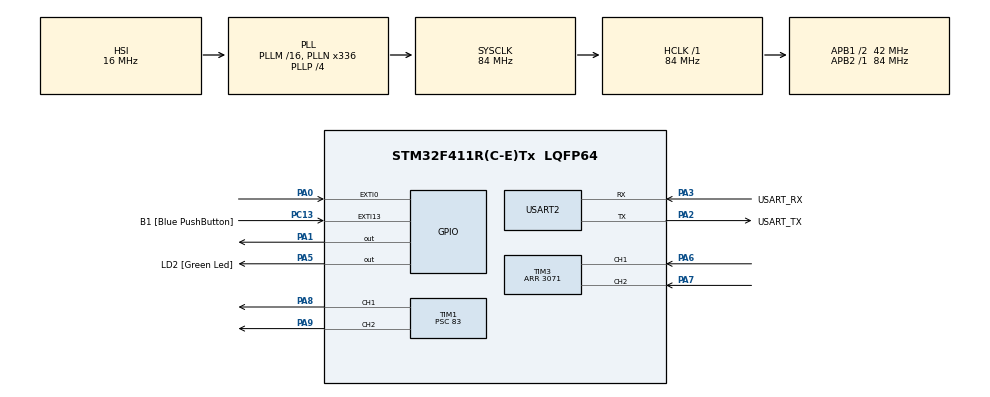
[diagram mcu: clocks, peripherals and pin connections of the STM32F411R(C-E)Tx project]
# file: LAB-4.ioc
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Mcu.Family=STM32F4
Mcu.Name=STM32F411R(C-E)Tx
Mcu.Package=LQFP64
NVIC.PriorityGroup=NVIC_PRIORITYGROUP_0
PA0-WKUP.Signal=GPXTI0
PA1.Signal=GPIO_Output
PA13.GPIO_Label=TMS
PA13.Mode=Serial_Wire
PA13.Signal=SYS_JTMS-SWDIO
PA14.GPIO_Label=TCK
PA14.Mode=Serial_Wire
PA14.Signal=SYS_JTCK-SWCLK
PA2.GPIO_Label=USART_TX
PA2.Mode=Asynchronous
PA2.Signal=USART2_TX
PA3.GPIO_Label=USART_RX
PA3.Mode=Asynchronous
PA3.Signal=USART2_RX
PA5.GPIO_Label=LD2 [Green Led]
PA5.Signal=GPIO_Output
PA6.Signal=S_TIM3_CH1
PA7.Signal=S_TIM3_CH2
PA8.Signal=S_TIM1_CH1
PA9.Signal=S_TIM1_CH2
PB3.GPIO_Label=SWO
PB3.Signal=SYS_JTDO-SWO
PC13-ANTI_TAMP.GPIO_Label=B1 [Blue PushButton]
PC13-ANTI_TAMP.GPIO_ModeDefaultEXTI=GPIO_MODE_IT_FALLING
PC13-ANTI_TAMP.Signal=GPXTI13
PC14-OSC32_IN.Mode=LSE-External-Oscillator
PC14-OSC32_IN.Signal=RCC_OSC32_IN
PC15-OSC32_OUT.Mode=LSE-External-Oscillator
PC15-OSC32_OUT.Signal=RCC_OSC32_OUT
PH0\ -\ OSC_IN.Mode=HSE-External-Clock-Source
PH0\ -\ OSC_IN.Signal=RCC_OSC_IN
PH1\ -\ OSC_OUT.Mode=HSE-External-Clock-Source
PH1\ -\ OSC_OUT.Signal=RCC_OSC_OUT
ProjectManager.HeapSize=0x200
ProjectManager.StackSize=0x400
ProjectManager.TargetToolchain=STM32CubeIDE
RCC.48MHZClocksFreq_Value=84000000
RCC.AHBFreq_Value=84000000
RCC.APB1CLKDivider=RCC_HCLK_DIV2
RCC.APB1Freq_Value=42000000
RCC.APB1TimFreq_Value=84000000
RCC.APB2Freq_Value=84000000
RCC.APB2TimFreq_Value=84000000
RCC.CortexFreq_Value=84000000
RCC.FLatency-AdvancedSettings=FLASH_LATENCY_2
RCC.HCLKFreq_Value=84000000
RCC.HSE_VALUE=8000000
RCC.HSI_VALUE=16000000
RCC.PLLN=336
RCC.PLLP=RCC_PLLP_DIV4
RCC.SYSCLKFreq_VALUE=84000000
RCC.SYSCLKSource=RCC_SYSCLKSOURCE_PLLCLK
RCC.VCOOutputFreq_Value=336000000
SH.S_TIM1_CH1.0=TIM1_CH1,PWM Generation1 CH1
SH.S_TIM1_CH2.0=TIM1_CH2,PWM Generation2 CH2
SH.S_TIM3_CH1.0=TIM3_CH1,Encoder_Interface
SH.S_TIM3_CH2.0=TIM3_CH2,Encoder_Interface
TIM1.Channel-PWM\ Generation1\ CH1=TIM_CHANNEL_1
TIM1.Channel-PWM\ Generation2\ CH2=TIM_CHANNEL_2
TIM1.Period=99
TIM1.Prescaler=83
TIM3.EncoderMode=TIM_ENCODERMODE_TI12
TIM3.Period=3071
USART2.VirtualMode=VM_ASYNC
VP_TIM1_VS_ClockSourceINT.Mode=Internal
VP_TIM2_VS_ClockSourceINT.Mode=Internal
board=NUCLEO-F411RE

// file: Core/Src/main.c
/* USER CODE BEGIN Header */
/**
  ******************************************************************************
  * @file           : main.c
  * @brief          : Main program body
  ******************************************************************************
  * @attention
  *
  * Copyright (c) 2023 STMicroelectronics.
  * All rights reserved.
  *
  * This software is licensed under terms that can be found in the LICENSE file
  * in the root directory of this software component.
  * If no LICENSE file comes with this software, it is provided AS-IS.
  *
  ******************************************************************************
  */
/* USER CODE END Header */
#include "main.h"

/* USER CODE BEGIN Includes */
#include "arm_math.h"
/* USER CODE END Includes */

TIM_HandleTypeDef htim1;
TIM_HandleTypeDef htim2;
TIM_HandleTypeDef htim3;

UART_HandleTypeDef huart2;

/* USER CODE BEGIN PV */
arm_pid_instance_f32 PID = {0};
float position = 0;
uint32_t setposition = 0;
float duty = 0 ;
float duty2 = 0 ;
uint32_t data[2] = {0};
int rawdata = 0;
float diff = 0 ;
/* USER CODE END PV */

void SystemClock_Config(void);
static void MX_GPIO_Init(void);
static void MX_USART2_UART_Init(void);
static void MX_TIM3_Init(void);
static void MX_TIM1_Init(void);
static void MX_TIM2_Init(void);
/* USER CODE BEGIN PFP */
void QEIEncoderPositionVelocity_Update() ;
/* USER CODE END PFP */

int main(void)
{

  /* MCU Configuration--------------------------------------------------------*/

  /* Reset of all peripherals, Initializes the Flash interface and the Systick. */
  HAL_Init();

  /* Configure the system clock */
  SystemClock_Config();

  /* Initialize all configured peripherals */
  MX_GPIO_Init();
  MX_USART2_UART_Init();
  MX_TIM3_Init();
  MX_TIM1_Init();
  MX_TIM2_Init();
  /* USER CODE BEGIN 2 */
  	PID.Kp = 0.2;
    PID.Ki = 0.1 ;
    PID.Kd = 0.1;
    arm_pid_init_f32(&PID, 1);

    HAL_TIM_Encoder_Start(&htim3, TIM_CHANNEL_1|TIM_CHANNEL_2);
    HAL_TIM_Base_Start(&htim1);
    HAL_TIM_PWM_Start(&htim1, TIM_CHANNEL_1);
    HAL_TIM_PWM_Start(&htim1, TIM_CHANNEL_2);
  /* USER CODE END 2 */

  /* Infinite loop */
  while (1)
  {

    /* USER CODE BEGIN 3 */
	  static uint32_t timestamp = 0;
	  if(HAL_GetTick()>timestamp){
	  		  timestamp = HAL_GetTick()+1 ;        // run 1000 Hz
	  		  QEIEncoderPositionVelocity_Update(); // read QEI
	  		  position = (rawdata/3072.0)*360.0 ;     // find degree
	  		  diff = setposition - position ;    // error
	  		  if(diff > 0)
	  		  {
	  			if (diff <= 0.6)
	  			{
	  				duty = 0 ;// break
	  				duty2 = 0;
	  			}
	  			else {
	  				duty = arm_pid_f32(&PID, diff);  // set duty
	  				if(duty > 100 )
	  				{
	  					duty = 100 ;		// limit duty
	  				}
	  				else if(duty < 0){
	  					duty = 0 ;			// limit duty
	  				}
	  			}
	  			__HAL_TIM_SET_COMPARE(&htim1,TIM_CHANNEL_1,duty);
	  			__HAL_TIM_SET_COMPARE(&htim1,TIM_CHANNEL_2,duty2);
	  		  }
	  		  else if(diff < 0)
	  		  {
	  			if (diff*-1 <= 0.6)
	  			{
	  				duty = 0 ;   // break
	  				duty2 = 0 ;
	  			}
	  			else{
	  				duty2 = arm_pid_f32(&PID, diff*-1); // set duty and change error to positive
	  				if(duty2 > 100 )
	  				{
	  					duty2 = 100 ;			// limit duty
	  				}
	  				else if(duty2 < 0){
	  					duty2 = 0 ;            // limit duty
	  				}
	  			}
	  			__HAL_TIM_SET_COMPARE(&htim1,TIM_CHANNEL_1,duty);
	  			__HAL_TIM_SET_COMPARE(&htim1,TIM_CHANNEL_2,duty2);
	  		  }

	  	  }
  }
  /* USER CODE END 3 */
}

void SystemClock_Config(void)
{
  RCC_OscInitTypeDef RCC_OscInitStruct = {0};
  RCC_ClkInitTypeDef RCC_ClkInitStruct = {0};

  /** Configure the main internal regulator output voltage
  */
  __HAL_RCC_PWR_CLK_ENABLE();
  __HAL_PWR_VOLTAGESCALING_CONFIG(PWR_REGULATOR_VOLTAGE_SCALE1);

  /** Initializes the RCC Oscillators according to the specified parameters
  * in the RCC_OscInitTypeDef structure.
  */
  RCC_OscInitStruct.OscillatorType = RCC_OSCILLATORTYPE_HSI;
  RCC_OscInitStruct.HSIState = RCC_HSI_ON;
  RCC_OscInitStruct.HSICalibrationValue = RCC_HSICALIBRATION_DEFAULT;
  RCC_OscInitStruct.PLL.PLLState = RCC_PLL_ON;
  RCC_OscInitStruct.PLL.PLLSource = RCC_PLLSOURCE_HSI;
  RCC_OscInitStruct.PLL.PLLM = 16;
  RCC_OscInitStruct.PLL.PLLN = 336;
  RCC_OscInitStruct.PLL.PLLP = RCC_PLLP_DIV4;
  RCC_OscInitStruct.PLL.PLLQ = 4;
  if (HAL_RCC_OscConfig(&RCC_OscInitStruct) != HAL_OK)
  {
    Error_Handler();
  }

  /** Initializes the CPU, AHB and APB buses clocks
  */
  RCC_ClkInitStruct.ClockType = RCC_CLOCKTYPE_HCLK|RCC_CLOCKTYPE_SYSCLK
                              |RCC_CLOCKTYPE_PCLK1|RCC_CLOCKTYPE_PCLK2;
  RCC_ClkInitStruct.SYSCLKSource = RCC_SYSCLKSOURCE_PLLCLK;
  RCC_ClkInitStruct.AHBCLKDivider = RCC_SYSCLK_DIV1;
  RCC_ClkInitStruct.APB1CLKDivider = RCC_HCLK_DIV2;
  RCC_ClkInitStruct.APB2CLKDivider = RCC_HCLK_DIV1;

  if (HAL_RCC_ClockConfig(&RCC_ClkInitStruct, FLASH_LATENCY_2) != HAL_OK)
  {
    Error_Handler();
  }
}

static void MX_TIM1_Init(void)
{

  TIM_ClockConfigTypeDef sClockSourceConfig = {0};
  TIM_MasterConfigTypeDef sMasterConfig = {0};
  TIM_OC_InitTypeDef sConfigOC = {0};
  TIM_BreakDeadTimeConfigTypeDef sBreakDeadTimeConfig = {0};

  htim1.Instance = TIM1;
  htim1.Init.Prescaler = 83;
  htim1.Init.CounterMode = TIM_COUNTERMODE_UP;
  htim1.Init.Period = 99;
  htim1.Init.ClockDivision = TIM_CLOCKDIVISION_DIV1;
  htim1.Init.RepetitionCounter = 0;
  htim1.Init.AutoReloadPreload = TIM_AUTORELOAD_PRELOAD_DISABLE;
  if (HAL_TIM_Base_Init(&htim1) != HAL_OK)
  {
    Error_Handler();
  }
  sClockSourceConfig.ClockSource = TIM_CLOCKSOURCE_INTERNAL;
  if (HAL_TIM_ConfigClockSource(&htim1, &sClockSourceConfig) != HAL_OK)
  {
    Error_Handler();
  }
  if (HAL_TIM_PWM_Init(&htim1) != HAL_OK)
  {
    Error_Handler();
  }
  sMasterConfig.MasterOutputTrigger = TIM_TRGO_RESET;
  sMasterConfig.MasterSlaveMode = TIM_MASTERSLAVEMODE_DISABLE;
  if (HAL_TIMEx_MasterConfigSynchronization(&htim1, &sMasterConfig) != HAL_OK)
  {
    Error_Handler();
  }
  sConfigOC.OCMode = TIM_OCMODE_PWM1;
  sConfigOC.Pulse = 0;
  sConfigOC.OCPolarity = TIM_OCPOLARITY_HIGH;
  sConfigOC.OCNPolarity = TIM_OCNPOLARITY_HIGH;
  sConfigOC.OCFastMode = TIM_OCFAST_DISABLE;
  sConfigOC.OCIdleState = TIM_OCIDLESTATE_RESET;
  sConfigOC.OCNIdleState = TIM_OCNIDLESTATE_RESET;
  if (HAL_TIM_PWM_ConfigChannel(&htim1, &sConfigOC, TIM_CHANNEL_1) != HAL_OK)
  {
    Error_Handler();
  }
  if (HAL_TIM_PWM_ConfigChannel(&htim1, &sConfigOC, TIM_CHANNEL_2) != HAL_OK)
  {
    Error_Handler();
  }
  sBreakDeadTimeConfig.OffStateRunMode = TIM_OSSR_DISABLE;
  sBreakDeadTimeConfig.OffStateIDLEMode = TIM_OSSI_DISABLE;
  sBreakDeadTimeConfig.LockLevel = TIM_LOCKLEVEL_OFF;
  sBreakDeadTimeConfig.DeadTime = 0;
  sBreakDeadTimeConfig.BreakState = TIM_BREAK_DISABLE;
  sBreakDeadTimeConfig.BreakPolarity = TIM_BREAKPOLARITY_HIGH;
  sBreakDeadTimeConfig.AutomaticOutput = TIM_AUTOMATICOUTPUT_DISABLE;
  if (HAL_TIMEx_ConfigBreakDeadTime(&htim1, &sBreakDeadTimeConfig) != HAL_OK)
  {
    Error_Handler();
  }
  HAL_TIM_MspPostInit(&htim1);

}

static void MX_TIM2_Init(void)
{

  TIM_ClockConfigTypeDef sClockSourceConfig = {0};
  TIM_MasterConfigTypeDef sMasterConfig = {0};

  htim2.Instance = TIM2;
  htim2.Init.Prescaler = 0;
  htim2.Init.CounterMode = TIM_COUNTERMODE_UP;
  htim2.Init.Period = 4294967295;
  htim2.Init.ClockDivision = TIM_CLOCKDIVISION_DIV1;
  htim2.Init.AutoReloadPreload = TIM_AUTORELOAD_PRELOAD_DISABLE;
  if (HAL_TIM_Base_Init(&htim2) != HAL_OK)
  {
    Error_Handler();
  }
  sClockSourceConfig.ClockSource = TIM_CLOCKSOURCE_INTERNAL;
  if (HAL_TIM_ConfigClockSource(&htim2, &sClockSourceConfig) != HAL_OK)
  {
    Error_Handler();
  }
  sMasterConfig.MasterOutputTrigger = TIM_TRGO_RESET;
  sMasterConfig.MasterSlaveMode = TIM_MASTERSLAVEMODE_DISABLE;
  if (HAL_TIMEx_MasterConfigSynchronization(&htim2, &sMasterConfig) != HAL_OK)
  {
    Error_Handler();
  }

}

static void MX_TIM3_Init(void)
{

  TIM_Encoder_InitTypeDef sConfig = {0};
  TIM_MasterConfigTypeDef sMasterConfig = {0};

  htim3.Instance = TIM3;
  htim3.Init.Prescaler = 0;
  htim3.Init.CounterMode = TIM_COUNTERMODE_UP;
  htim3.Init.Period = 3071;
  htim3.Init.ClockDivision = TIM_CLOCKDIVISION_DIV1;
  htim3.Init.AutoReloadPreload = TIM_AUTORELOAD_PRELOAD_DISABLE;
  sConfig.EncoderMode = TIM_ENCODERMODE_TI12;
  sConfig.IC1Polarity = TIM_ICPOLARITY_RISING;
  sConfig.IC1Selection = TIM_ICSELECTION_DIRECTTI;
  sConfig.IC1Prescaler = TIM_ICPSC_DIV1;
  sConfig.IC1Filter = 0;
  sConfig.IC2Polarity = TIM_ICPOLARITY_RISING;
  sConfig.IC2Selection = TIM_ICSELECTION_DIRECTTI;
  sConfig.IC2Prescaler = TIM_ICPSC_DIV1;
  sConfig.IC2Filter = 0;
  if (HAL_TIM_Encoder_Init(&htim3, &sConfig) != HAL_OK)
  {
    Error_Handler();
  }
  sMasterConfig.MasterOutputTrigger = TIM_TRGO_RESET;
  sMasterConfig.MasterSlaveMode = TIM_MASTERSLAVEMODE_DISABLE;
  if (HAL_TIMEx_MasterConfigSynchronization(&htim3, &sMasterConfig) != HAL_OK)
  {
    Error_Handler();
  }

}

static void MX_USART2_UART_Init(void)
{

  huart2.Instance = USART2;
  huart2.Init.BaudRate = 115200;
  huart2.Init.WordLength = UART_WORDLENGTH_8B;
  huart2.Init.StopBits = UART_STOPBITS_1;
  huart2.Init.Parity = UART_PARITY_NONE;
  huart2.Init.Mode = UART_MODE_TX_RX;
  huart2.Init.HwFlowCtl = UART_HWCONTROL_NONE;
  huart2.Init.OverSampling = UART_OVERSAMPLING_16;
  if (HAL_UART_Init(&huart2) != HAL_OK)
  {
    Error_Handler();
  }

}

static void MX_GPIO_Init(void)
{
  GPIO_InitTypeDef GPIO_InitStruct = {0};

  /* GPIO Ports Clock Enable */
  __HAL_RCC_GPIOC_CLK_ENABLE();
  __HAL_RCC_GPIOH_CLK_ENABLE();
  __HAL_RCC_GPIOA_CLK_ENABLE();
  __HAL_RCC_GPIOB_CLK_ENABLE();

  /*Configure GPIO pin Output Level */
  HAL_GPIO_WritePin(GPIOA, GPIO_PIN_1|LD2_Pin, GPIO_PIN_RESET);

  /*Configure GPIO pin : B1_Pin */
  GPIO_InitStruct.Pin = B1_Pin;
  GPIO_InitStruct.Mode = GPIO_MODE_IT_FALLING;
  GPIO_InitStruct.Pull = GPIO_NOPULL;
  HAL_GPIO_Init(B1_GPIO_Port, &GPIO_InitStruct);

  /*Configure GPIO pin : PA0 */
  GPIO_InitStruct.Pin = GPIO_PIN_0;
  GPIO_InitStruct.Mode = GPIO_MODE_IT_RISING;
  GPIO_InitStruct.Pull = GPIO_NOPULL;
  HAL_GPIO_Init(GPIOA, &GPIO_InitStruct);

  /*Configure GPIO pins : PA1 LD2_Pin */
  GPIO_InitStruct.Pin = GPIO_PIN_1|LD2_Pin;
  GPIO_InitStruct.Mode = GPIO_MODE_OUTPUT_PP;
  GPIO_InitStruct.Pull = GPIO_NOPULL;
  GPIO_InitStruct.Speed = GPIO_SPEED_FREQ_LOW;
  HAL_GPIO_Init(GPIOA, &GPIO_InitStruct);

}

/* USER CODE BEGIN 4 */
void QEIEncoderPositionVelocity_Update(){
	uint32_t counterposition = __HAL_TIM_GetCounter(&htim3);
	data[0] = counterposition ;

	int32_t diffposition = data[0] - data[1] ;

	//unwarp
	if(diffposition > 1500) diffposition -= 3072 ;
	if(diffposition < -1500) diffposition += 3072 ;

	data[1] = data[0];
	rawdata += diffposition;
}
/* USER CODE END 4 */

void Error_Handler(void)
{
  __disable_irq();
  while (1)
  {
  }
}
